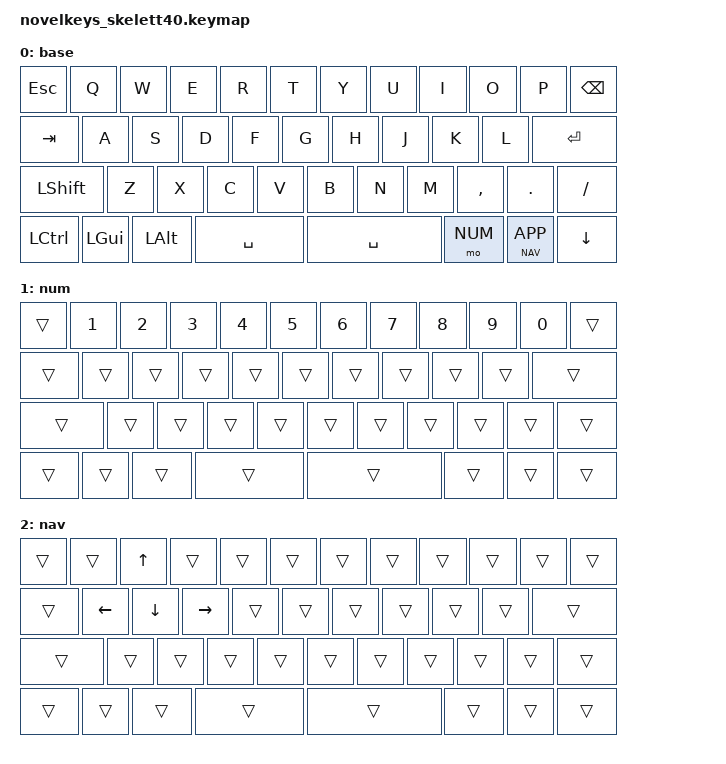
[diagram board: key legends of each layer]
// Copyright (c) 2023 The ZMK Contributors
// SPDX-License-Identifier: MIT

#undef ZMK_BEHAVIORS_KEEP_ALL
#define ZMK_BEHAVIORS_KEEP_LT 1

#include <behaviors.dtsi>
#include <dt-bindings/zmk/keys.h>

#define BASE  0
#define NUM  1
#define NAV  1

/ {
    combos {
        compatible = "zmk,combos";

        combo_bootloader {
            timeout-ms = <100>;
            key-positions = <0 11>;
            bindings = <&bootloader>;
        };

        combo_studio_unlock {
            timeout-ms = <100>;
            key-positions = <0 41>;
            bindings = <&studio_unlock>;
        };
    };


    keymap {
        compatible = "zmk,keymap";

        base {

            bindings = <
&kp ESC   &kp Q   &kp W   &kp E   &kp R   &kp T   &kp Y   &kp U   &kp I   &kp O   &kp P  &kp BSPC
&kp TAB   &kp A   &kp S   &kp D   &kp F   &kp G   &kp H   &kp J   &kp K   &kp  L       &kp RET
&kp LSHFT   &kp Z   &kp X   &kp C   &kp V   &kp B   &kp N   &kp M   &kp COMMA &kp DOT &kp FSLH
&kp LCTRL &kp LGUI &kp LALT      &kp SPACE      &kp SPACE               &mo NUM  &lt NAV K_APP  &kp DOWN
            >;
        };

	num {
            bindings = <
&trans   &kp N1   &kp N2   &kp N3   &kp N4   &kp N5   &kp N6   &kp N7   &kp N8   &kp N9   &kp N0  &trans
&trans   &trans   &trans   &trans   &trans   &trans   &trans   &trans   &trans   &trans       &trans
&trans   &trans   &trans   &trans   &trans   &trans   &trans   &trans   &trans &trans &trans
&trans &trans &trans      &trans      &trans               &trans  &trans &trans
             >;
	};

	nav {
            bindings = <
&trans   &trans   &kp UP   &trans   &trans   &trans   &trans   &trans   &trans   &trans   &trans  &trans
&trans   &kp LEFT   &kp DOWN   &kp RIGHT   &trans   &trans   &trans   &trans   &trans   &trans       &trans
&trans   &trans   &trans   &trans   &trans   &trans   &trans   &trans   &trans &trans &trans
&trans &trans &trans      &trans      &trans               &trans  &trans &trans
             >;
	};

	res1 { status = "reserved"; };
    };
};
